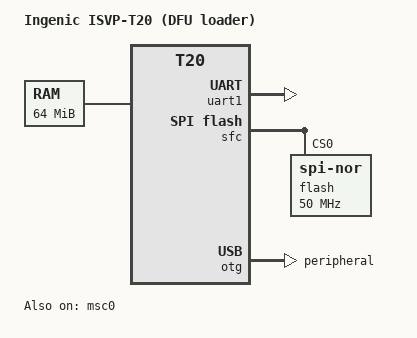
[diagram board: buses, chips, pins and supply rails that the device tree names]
// SPDX-License-Identifier: GPL-2.0+
/*
 * Ingenic ISVP-T20 shared DFU/USB-boot board body.
 *
 * Identical to t20-isvp.dtsi except the DWC2 OTG is dr_mode =
 * "peripheral" so the dwc2_udc_otg gadget binds, and the audio nodes stay
 * off. Used by the usbboot defconfig. Production NOR uses t20-isvp.dtsi
 * (dr_mode="host").
 *
 * The per-SKU leaf .dts files (t20l-isvp-dfu.dts, ...) include this and
 * set the DDR node's per-SKU compatible; the matching <leaf>-u-boot.dtsi
 * pulls in t20-isvp-dfu-uboot-common.dtsi.
 */

#include <dt-bindings/gpio/gpio.h>
#include "t20.dtsi"

/ {
	compatible = "ingenic,isvp-t20", "ingenic,t20";
	model = "Ingenic ISVP-T20 (DFU loader)";

	aliases {
		serial1 = &uart1;
	};

	chosen {
		stdout-path = "serial1:115200n8";
	};

	memory {
		device_type = "memory";
		reg = <0x0 0x04000000>;	/* 64 MB DDR2 (T20L) */
	};
};

&uart1 {
	status = "okay";
};

&sfc {
	status = "okay";

	flash@0 {
		compatible = "jedec,spi-nor";
		reg = <0>;
		spi-max-frequency = <50000000>;
	};
};

&msc0 {
	status = "okay";
	bus-width = <4>;
	broken-cd;
};

&otg {
	status = "okay";
	dr_mode = "peripheral";		/* gadget bind for DFU/g_dnl */
};
